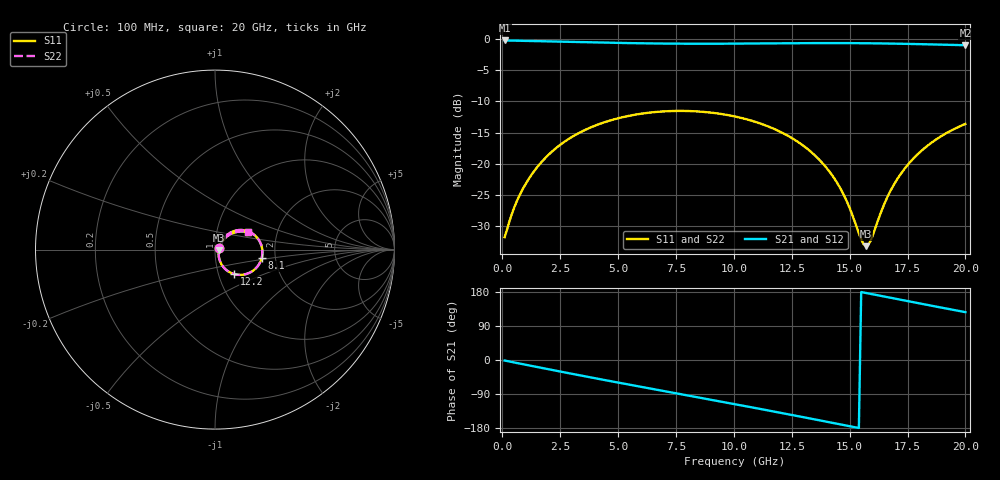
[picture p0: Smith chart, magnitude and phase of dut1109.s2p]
! Touchstone file exported from HFSS 2026.1.0
!  File:  C:/ffzhzh/LocalFiles/Ansys_Project_Files/temp_train_TSV_RDL_1109_1783304504_5512.aedt
!  Generated:  10:31:28 AM Jul  6, 2026
!  Design:  TSV_RDL
!  Project:  temp_train_TSV_RDL_1109_1783304504_5512
! Variables:
!  h_bsmrdl = 3.02um
!  h_ox = 20um
!  h_rdl = 5um
!  h_sub = 71.29um
!  h_tmrdl = 5.5um
!  h_tsv = 71.29um
!  h_via = 3um
!  l_bsmrdl = 740.38um
!  l_sub = 3866.39um
!  l_tmrdl = 288.7um
!  m_sub = 200um
!  pitch = 23.99um
!  r_tsv = 7.84um
!  s_tmrdl = 10um
!  w_bsmrdl = 13.76um
!  w_sub = 500um
!  w_tmrdl = 16.39um
!  x_tsv_center1 = 296.895um
!  x_tsv_center2 = 1051.035um
!  x_tsv_center3 = 1356.125um
!  x_tsv_center4 = 2110.265um
!  x_tsv_center5 = 2415.355um
!  x_tsv_center6 = 3169.495um
# GHz S MA R 50.000000
! Terminal data exported
! Port[1] = TM_RDL1_1_T1
! Port[2] = TM_RDL5_1_T1
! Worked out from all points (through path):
!   200 points, 100 MHz to 20 GHz, reference 50 ohm
!   highest |S21| = -0.22 dB at 100 MHz (marker M1); lowest = -1.0 dB at 20 GHz (marker M2)
!   group delay of S21, straight-line fit = 32.2 ps
!   lowest |S11| = -33.2 dB at 15.7 GHz (marker M3), VSWR 1.04, Z = 52.2 - j0.435 ohm
!   |S11| at or under -10 dB: start of sweep to end of sweep
!   |S22| runs from -33.3 to -11.5 dB; largest |S21 - S12| = 6.6e-14
!   S11 on the Smith chart (normalised r, x): 100 MHz: 1.05, +0.01; 8.1 GHz: 1.69, -0.17; 12.2 GHz: 1.19, -0.33; 20 GHz: 1.42, +0.28
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0.1  0.0257 15.7  0.9754 -1.3  0.9754 -1.3  0.0257 15.7
! Gamma 0 0 0 0
! Port Impedance 50 0 50 0
0.7  0.05348 47.2  0.969 -8.8  0.969 -8.8  0.05348 47.2
1.4  0.08831 51.3  0.964 -17.3  0.964 -17.3  0.08831 51.2
2.3  0.1323 47.0  0.9568 -28.1  0.9568 -28.1  0.1323 47.0
3.5  0.1837 36.5  0.9456 -42.2  0.9456 -42.2  0.1837 36.5
5.2  0.2362 19.5  0.9309 -61.8  0.9309 -61.8  0.2362 19.5
6.8  0.2615 3.0  0.9215 -79.9  0.9215 -79.9  0.2615 3.0
8.1  0.2644 -10.4  0.9181 -94.6  0.9181 -94.6  0.2644 -10.4
10.1  0.2381 -31.1  0.9198 -117.2  0.9198 -117.2  0.238 -31.1
12.2  0.1728 -52.0  0.9261 -141.5  0.9261 -141.5  0.1728 -52.1
13.4  0.1212 -62.4  0.9289 -155.6  0.9289 -155.6  0.1212 -62.4
14.1  0.08784 -66.3  0.9294 -163.9  0.9294 -163.9  0.08777 -66.4
14.6  0.06331 -66.2  0.9291 -169.9  0.9291 -169.9  0.06322 -66.3
15  0.04413 -61.3  0.9285 -174.7  0.9285 -174.7  0.04401 -61.5
15.5  0.02465 -34.7  0.9272 179.3  0.9272 179.3  0.02448 -34.8
15.7  0.02175 -11.0  0.9264 176.9  0.9264 176.9  0.02158 -10.9
15.9  0.02391 13.5  0.9256 174.5  0.9256 174.5  0.02378 13.8
16.7  0.05729 47.5  0.9214 165.0  0.9214 165.0  0.05727 47.7
17.3  0.08734 48.6  0.9173 157.8  0.9173 157.8  0.08735 48.8
18  0.122 44.9  0.9116 149.5  0.9116 149.5  0.122 45.0
18.9  0.1638 37.6  0.9035 139.0  0.9035 139.0  0.1638 37.7
20  0.2086 27.3  0.893 126.2  0.893 126.2  0.2086 27.3
